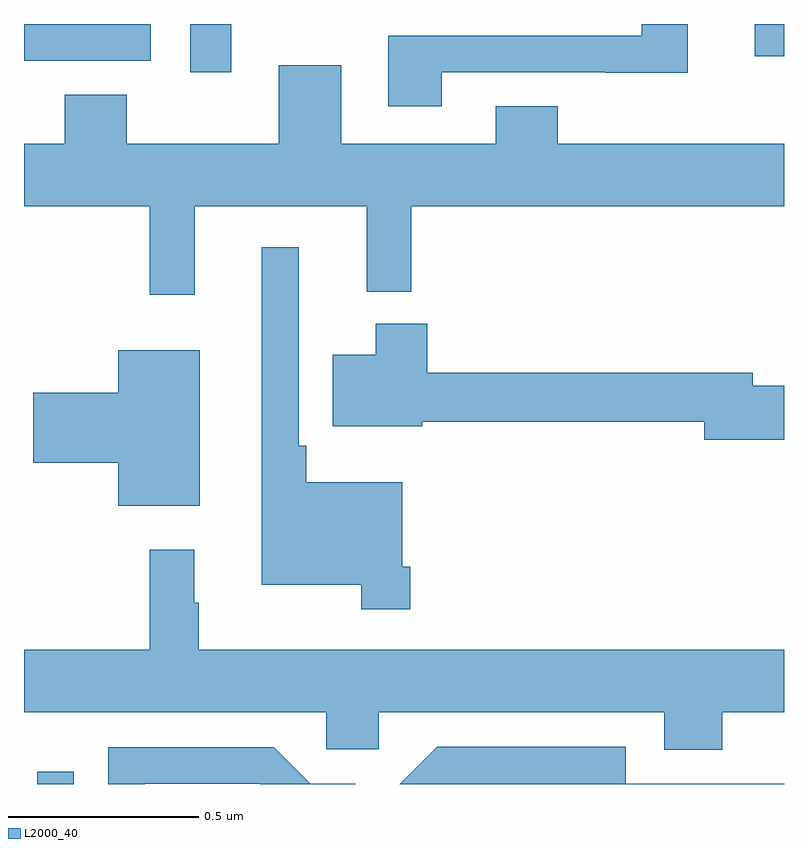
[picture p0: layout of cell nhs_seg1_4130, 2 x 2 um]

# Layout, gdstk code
import gdstk
lib = gdstk.Library(unit=1e-6, precision=1e-09)
def R(c, l, rs):  # rectangles x0, y0, x1, y1
    for r in rs: c.add(gdstk.rectangle(r[:2], r[2:], *l))
def P(c, l, *ps):  # polygons
    for p in ps: c.add(gdstk.Polygon(p, *l))
L2000_40 = (2000, 40)

nhs_seg1_4130 = lib.new_cell('nhs_seg1_4130')
R(nhs_seg1_4130, L2000_40, [(162.035,562.199,162.131,562.231), (162.437,564.072,162.546,564.199), (162,564.102,162.333,564.199), (163.923,564.114,164,564.199)])
P(nhs_seg1_4130, L2000_40, [(163.099,564.072),(163.529,564.072),(163.529,564.071),(163.747,564.071),(163.747,564.199),(163.626,564.199),(163.626,564.168),(162.959,564.168),(162.959,563.982),(163.099,563.982)],
  [(162.449,563.72),(162.902,563.72),(162.902,563.495),(163.019,563.495),(163.019,563.72),(164,563.72),(164,563.884),(163.405,563.884),(163.405,563.983),(163.241,563.983),(163.241,563.884),(162.835,563.884),(162.835,564.091),(162.671,564.091),(162.671,563.884),(162.271,563.884),(162.271,564.013),(162.107,564.013),(162.107,563.884),(162,563.884),(162,563.72),(162.331,563.72),(162.331,563.487),(162.449,563.487)],
  [(163.016,562.771),(162.996,562.771),(162.996,562.993),(162.743,562.993),(162.743,563.089),(162.723,563.089),(162.723,563.611),(162.626,563.611),(162.626,562.724),(162.888,562.724),(162.888,562.659),(163.016,562.659)],
  [(164,563.247),(163.918,563.247),(163.918,563.281),(163.061,563.281),(163.061,563.41),(162.926,563.41),(162.926,563.329),(162.812,563.329),(162.812,563.141),(163.048,563.141),(163.048,563.152),(163.79,563.152),(163.79,563.105),(164,563.105)],
  [(162.463,563.341),(162.248,563.341),(162.248,563.228),(162.024,563.228),(162.024,563.045),(162.248,563.045),(162.248,562.931),(162.463,562.931)],
  [(163.838,562.388),(164,562.388),(164,562.552),(162.46,562.552),(162.46,562.676),(162.448,562.676),(162.448,562.816),(162.331,562.816),(162.331,562.552),(162,562.552),(162,562.388),(162.795,562.388),(162.795,562.29),(162.933,562.29),(162.933,562.388),(163.685,562.388),(163.685,562.289),(163.838,562.289)],
  [(164,562.2),(163.584,562.2),(163.584,562.297),(163.087,562.297),(162.989,562.199),(164,562.199)],
  [(162.318,562.2),(162.621,562.2),(162.622,562.199),(162.872,562.199),(162.872,562.2),(162.753,562.2),(162.657,562.296),(162.222,562.296),(162.222,562.199),(162.318,562.199)])

lib.write_gds('nhs_seg1_4130.gds')
